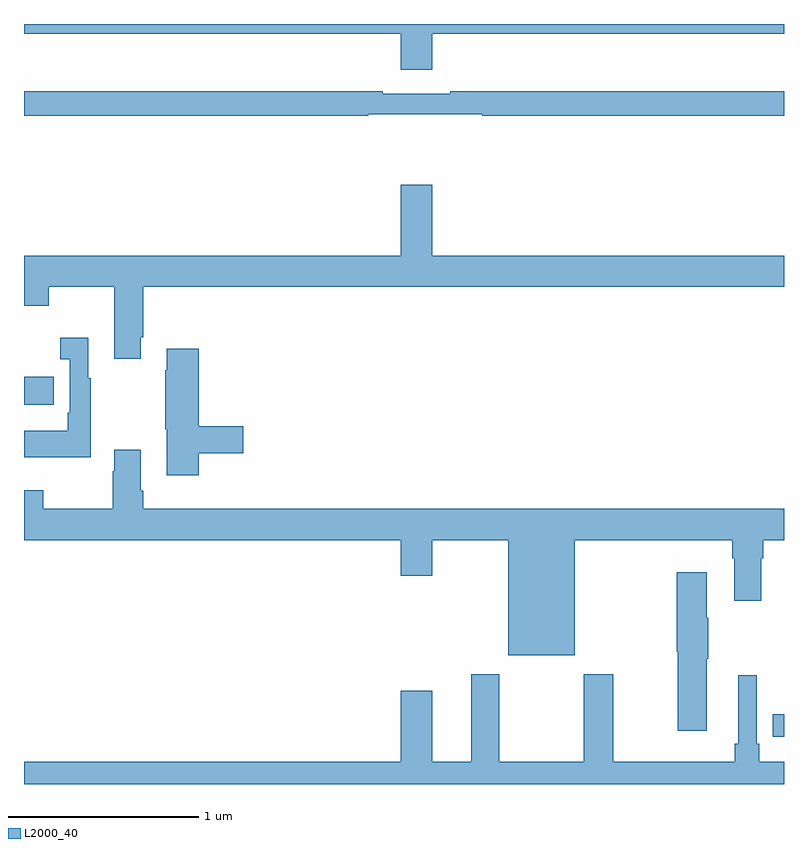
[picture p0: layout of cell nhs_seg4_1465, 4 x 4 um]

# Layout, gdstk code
import gdstk
lib = gdstk.Library(unit=1e-6, precision=1e-09)
def R(c, l, rs):  # rectangles x0, y0, x1, y1
    for r in rs: c.add(gdstk.rectangle(r[:2], r[2:], *l))
def P(c, l, *ps):  # polygons
    for p in ps: c.add(gdstk.Polygon(p, *l))
L2000_40 = (2000, 40)

nhs_seg4_1465 = lib.new_cell('nhs_seg4_1465')
R(nhs_seg4_1465, L2000_40, [(190.942,765.15,191,765.266), (187,766.895,187.157,767.043)])
P(nhs_seg4_1465, L2000_40, [(189.148,768.848),(191,768.848),(191,768.9),(187,768.9),(187,768.848),(188.984,768.848),(188.984,768.66),(189.148,768.66)],
  [(188.812,768.426),(189.412,768.426),(189.412,768.418),(191,768.418),(191,768.547),(189.244,768.547),(189.244,768.534),(188.888,768.534),(188.888,768.547),(187,768.547),(187,768.418),(188.812,768.418)],
  [(187.615,767.251),(187.628,767.251),(187.628,767.516),(191,767.516),(191,767.68),(189.148,767.68),(189.148,768.055),(188.984,768.055),(188.984,767.68),(187,767.68),(187,767.417),(187.131,767.417),(187.131,767.516),(187.475,767.516),(187.475,767.139),(187.615,767.139)],
  [(187.351,767.035),(187.339,767.035),(187.339,767.248),(187.191,767.248),(187.191,767.135),(187.242,767.135),(187.242,766.855),(187.23,766.855),(187.23,766.759),(187,766.759),(187,766.619),(187.351,766.619)],
  [(187.919,766.642),(188.155,766.642),(188.155,766.784),(187.919,766.784),(187.919,767.191),(187.751,767.191),(187.751,767.078),(187.744,767.078),(187.744,766.767),(187.751,766.767),(187.751,766.524),(187.919,766.524)],
  [(189.898,766.184),(190.727,766.184),(190.727,766.088),(190.739,766.088),(190.739,765.864),(190.879,765.864),(190.879,766.088),(190.892,766.088),(190.892,766.184),(191,766.184),(191,766.348),(187.628,766.348),(187.628,766.444),(187.615,766.444),(187.615,766.66),(187.475,766.66),(187.475,766.547),(187.468,766.547),(187.468,766.348),(187.101,766.348),(187.101,766.447),(187,766.447),(187,766.184),(188.984,766.184),(188.984,765.996),(189.148,765.996),(189.148,766.184),(189.548,766.184),(189.548,765.578),(189.898,765.578)],
  [(190.594,765.559),(190.602,765.559),(190.602,765.776),(190.594,765.776),(190.594,766.015),(190.436,766.015),(190.436,765.597),(190.441,765.597),(190.441,765.18),(190.594,765.18)],
  [(189.946,765.478),(189.946,765.016),(189.501,765.016),(189.501,765.478),(189.353,765.478),(189.353,765.016),(189.148,765.016),(189.148,765.391),(188.984,765.391),(188.984,765.016),(187,765.016),(187,764.9),(191,764.9),(191,765.016),(190.871,765.016),(190.871,765.112),(190.857,765.112),(190.857,765.472),(190.76,765.472),(190.76,765.112),(190.741,765.112),(190.741,765.016),(190.101,765.016),(190.101,765.478)])

lib.write_gds('nhs_seg4_1465.gds')
